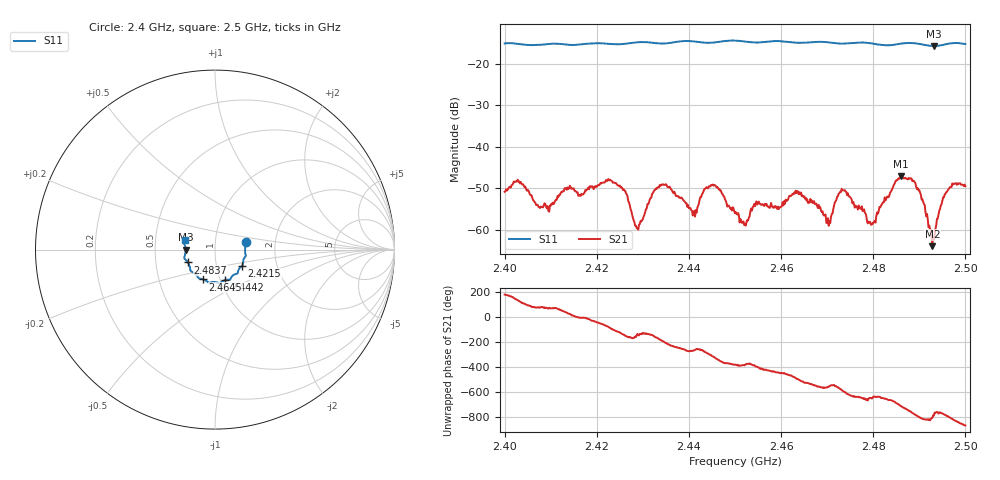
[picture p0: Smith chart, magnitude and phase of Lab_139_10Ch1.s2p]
# Hz S RI R 50
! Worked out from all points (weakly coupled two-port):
!   601 points, 2.4 GHz to 2.5 GHz, reference 50 ohm
!   highest |S21| = -47.09 dB at 2.486 GHz (marker M1); lowest = -63.9 dB at 2.4928 GHz (marker M2)
!   lowest |S11| = -15.7 dB at 2.4932 GHz (marker M3), VSWR 1.39, Z = 35.9 - j0.0399 ohm
!   |S11| at or under -10 dB: start of sweep to end of sweep
!   S12 and S22 are empty: the file has one direction only
!   S11 on the Smith chart (normalised r, x): 2.4 GHz: 1.41, +0.12; 2.4215 GHz: 1.33, -0.25; 2.4442 GHz: 1.05, -0.37; 2.4645 GHz: 0.83, -0.29; 2.4837 GHz: 0.73, -0.11; 2.5 GHz: 0.71, +0.08
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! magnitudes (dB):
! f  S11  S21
! 2.4 GHz  -15.1  -50.8
! 2.4167 GHz  -15.3  -51.3
! 2.4215 GHz  -15.1  -48.6
! 2.4258 GHz  -15.2  -50.2
! 2.4288 GHz  -14.8  -59.7
! 2.4333 GHz  -15.1  -49.7
! 2.4412 GHz  -14.6  -55.4
! 2.4442 GHz  -15.0  -50.0
! 2.45 GHz  -14.4  -56.0
! 2.4645 GHz  -15.0  -51.9
! 2.4667 GHz  -14.8  -52.9
! 2.4703 GHz  -14.8  -59.0
! 2.4737 GHz  -15.1  -50.5
! 2.4797 GHz  -15.1  -58.7
! 2.4833 GHz  -15.6  -52.2
! 2.4837 GHz  -15.5  -51.0
! 2.486 GHz  -15.1  -47.1
! 2.4895 GHz  -15.1  -50.2
! 2.4928 GHz  -15.7  -63.9
! 2.4932 GHz  -15.7  -62.4
! 2.496 GHz  -15.3  -50.8
! 2.5 GHz  -15.3  -49.5
